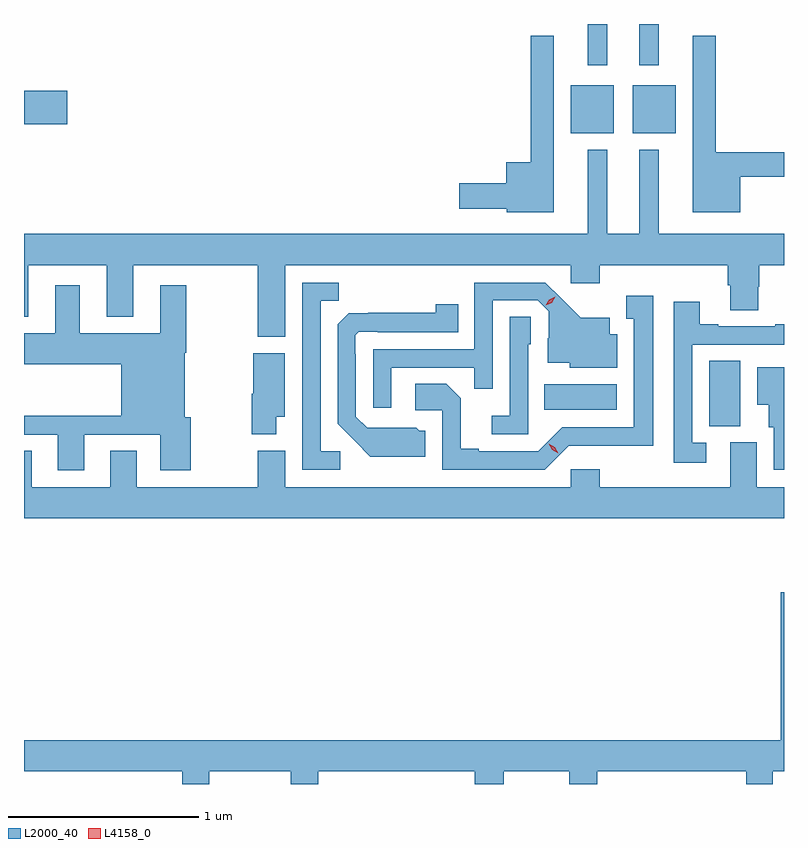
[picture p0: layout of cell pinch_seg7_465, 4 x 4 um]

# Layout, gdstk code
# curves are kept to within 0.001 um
import gdstk
lib = gdstk.Library(unit=1e-6, precision=1e-09)
def R(c, l, rs):  # rectangles x0, y0, x1, y1
    for r in rs: c.add(gdstk.rectangle(r[:2], r[2:], *l))
def P(c, l, *ps):  # polygons
    for p in ps: c.add(gdstk.Polygon(p, *l))
L2000_40 = (2000, 40)
L4158_0 = (4158, 0)

pinch_seg7_465 = lib.new_cell('pinch_seg7_465')
R(pinch_seg7_465, L2000_40, [(218.6,1067.701,218.764,1068.044), (217.732,1067.786,218.113,1067.92), (217.871,1069.241,218.098,1069.495), (218.198,1069.241,218.425,1069.495), (214.994,1069.289,215.221,1069.467), (217.961,1069.599,218.065,1069.817), (218.231,1069.599,218.335,1069.817)])
P(pinch_seg7_465, L2000_40, [(217.783,1069.756),(217.662,1069.756),(217.662,1069.09),(217.532,1069.09),(217.532,1068.98),(217.284,1068.98),(217.284,1068.845),(217.536,1068.845),(217.536,1068.827),(217.783,1068.827)],
  [(218.764,1069.014),(218.994,1069.014),(218.994,1069.142),(218.635,1069.142),(218.635,1069.756),(218.513,1069.756),(218.513,1068.827),(218.764,1068.827)],
  [(218.335,1069.156),(218.231,1069.156),(218.231,1068.712),(218.065,1068.712),(218.065,1069.156),(217.961,1069.156),(217.961,1068.712),(214.994,1068.712),(214.994,1068.275),(215.017,1068.275),(215.017,1068.548),(215.429,1068.548),(215.429,1068.275),(215.569,1068.275),(215.569,1068.548),(216.223,1068.548),(216.223,1068.17),(216.37,1068.17),(216.37,1068.548),(217.872,1068.548),(217.872,1068.453),(218.024,1068.453),(218.024,1068.548),(218.699,1068.548),(218.699,1068.442),(218.711,1068.442),(218.711,1068.31),(218.859,1068.31),(218.859,1068.435),(218.864,1068.435),(218.864,1068.548),(218.994,1068.548),(218.994,1068.712),(218.335,1068.712)],
  [(216.927,1068.009),(217.363,1068.009),(217.363,1067.896),(217.461,1067.896),(217.461,1068.363),(217.698,1068.363),(217.755,1068.306),(217.755,1068.164),(217.751,1068.164),(217.751,1068.035),(217.866,1068.035),(217.866,1068.008),(218.116,1068.008),(218.116,1068.184),(218.077,1068.184),(218.077,1068.271),(217.925,1068.271),(217.738,1068.456),(217.365,1068.456),(217.365,1068.105),(216.831,1068.105),(216.831,1067.796),(216.927,1067.796)],
  [(216.658,1067.568),(216.555,1067.568),(216.555,1068.361),(216.651,1068.361),(216.651,1068.456),(216.459,1068.456),(216.459,1067.472),(216.658,1067.472)],
  [(215.311,1067.655),(215.711,1067.655),(215.711,1067.469),(215.871,1067.469),(215.871,1067.748),(215.839,1067.748),(215.839,1068.086),(215.847,1068.086),(215.847,1068.442),(215.711,1068.442),(215.711,1068.19),(215.287,1068.19),(215.287,1068.442),(215.159,1068.442),(215.159,1068.19),(214.994,1068.19),(214.994,1068.026),(215.507,1068.026),(215.507,1067.756),(214.994,1067.756),(214.994,1067.655),(215.171,1067.655),(215.171,1067.469),(215.311,1067.469)],
  [(217.86,1067.598),(218.305,1067.597),(218.305,1068.388),(218.165,1068.388),(218.165,1068.267),(218.204,1068.267),(218.204,1067.694),(217.827,1067.694),(217.701,1067.568),(217.387,1067.568),(217.387,1067.581),(217.293,1067.581),(217.293,1067.848),(217.217,1067.924),(217.053,1067.924),(217.053,1067.784),(217.194,1067.784),(217.194,1067.472),(217.734,1067.472)],
  [(218.584,1067.613),(218.511,1067.613),(218.511,1068.129),(218.994,1068.129),(218.994,1068.238),(218.947,1068.238),(218.947,1068.225),(218.647,1068.225),(218.647,1068.238),(218.551,1068.238),(218.551,1068.355),(218.415,1068.355),(218.415,1067.508),(218.584,1067.508)],
  [(217.105,1067.676),(217.074,1067.676),(217.058,1067.692),(216.801,1067.691),(216.741,1067.751),(216.741,1068.08),(216.738,1068.08),(216.738,1068.18),(216.756,1068.198),(216.856,1068.198),(216.856,1068.195),(217.28,1068.195),(217.28,1068.343),(217.162,1068.343),(217.162,1068.296),(216.704,1068.295),(216.645,1068.236),(216.645,1067.714),(216.817,1067.54),(217.105,1067.54)],
  [(217.647,1068.132),(217.662,1068.132),(217.662,1068.275),(217.551,1068.275),(217.551,1067.755),(217.455,1067.755),(217.455,1067.658),(217.647,1067.658)],
  [(216.322,1067.75),(216.367,1067.75),(216.367,1068.085),(216.2,1068.085),(216.2,1067.871),(216.193,1067.871),(216.193,1067.657),(216.322,1067.657)],
  [(218.994,1068.01),(218.852,1068.01),(218.852,1067.813),(218.915,1067.813),(218.915,1067.694),(218.94,1067.694),(218.94,1067.472),(218.994,1067.472)],
  [(218.994,1067.38),(218.851,1067.38),(218.851,1067.616),(218.711,1067.616),(218.711,1067.38),(218.024,1067.38),(218.024,1067.473),(217.872,1067.473),(217.872,1067.38),(216.37,1067.38),(216.37,1067.572),(216.223,1067.572),(216.223,1067.38),(215.587,1067.38),(215.587,1067.57),(215.447,1067.57),(215.447,1067.38),(215.035,1067.38),(215.035,1067.57),(214.994,1067.57),(214.994,1067.216),(218.994,1067.216)],
  [(218.994,1066.827),(218.978,1066.827),(218.978,1066.048),(214.994,1066.048),(214.994,1065.884),(215.828,1065.884),(215.828,1065.817),(215.968,1065.817),(215.968,1065.884),(216.398,1065.884),(216.398,1065.817),(216.542,1065.817),(216.542,1065.884),(217.367,1065.884),(217.367,1065.817),(217.519,1065.817),(217.519,1065.884),(217.864,1065.884),(217.864,1065.817),(218.011,1065.817),(218.011,1065.884),(218.795,1065.884),(218.795,1065.817),(218.935,1065.817),(218.935,1065.884),(218.994,1065.884)])
P(pinch_seg7_465, L4158_0, [(217.805,1067.558),(217.773,1067.577),(217.756,1067.609),(217.756,1067.609),(217.756,1067.609),(217.788,1067.59),(217.805,1067.558),(217.805,1067.558)],
  [(217.741,1068.336),(217.741,1068.336),(217.758,1068.366),(217.789,1068.382),(217.789,1068.382),(217.789,1068.381),(217.772,1068.351),(217.741,1068.336)])

lib.write_gds('pinch_seg7_465.gds')
